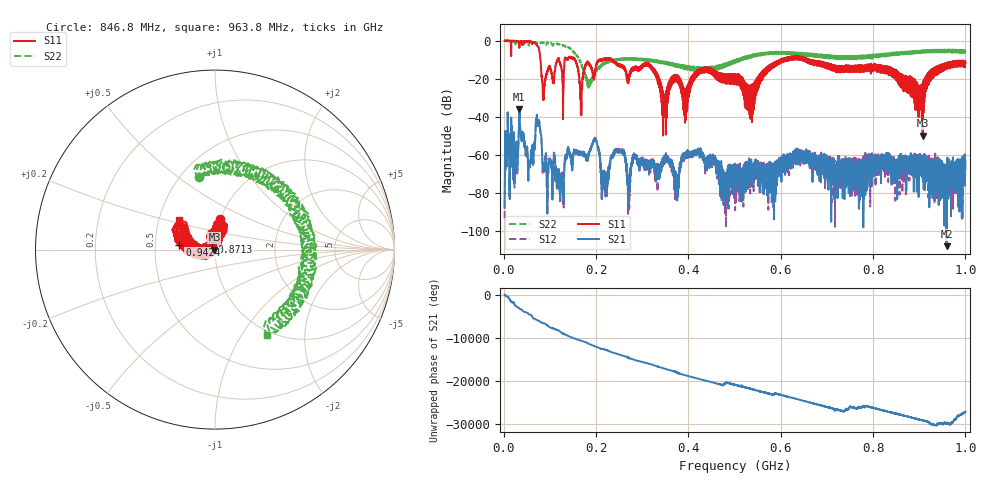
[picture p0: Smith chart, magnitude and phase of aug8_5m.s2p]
!Keysight Technologies N9923A: A.12.45
!Date: Friday, 08 August 2025 17:27:40
!Timezone: (UTC+08:00) Kuala Lumpur, Singapore
!Model: N9923A
!Serial: MY61181427
!GPS Latitude:
!GPS Longitude:
!GPS TimeStamp: 0001-01-01 00:00:00Z
!GPS Seconds Since Last Read: 0
!CHECKSUM:0652293707
!Correction: S11(ON U)S21(ON U)S12(ON U)S22(ON U)
!S2P File: Measurements:S11,S21,S12,S22:
# Hz S DB R 50
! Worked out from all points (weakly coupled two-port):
!   4001 points, 2 MHz to 1 GHz, reference 50 ohm
!   highest |S21| = -36.13 dB at 33.94 MHz (marker M1); lowest = -108.0 dB at 959.1 MHz (marker M2)
!   lowest |S11| = -50.0 dB at 907.4 MHz (marker M3), VSWR 1.01, Z = 49.7 + j0.0352 ohm
!   |S11| at or under -10 dB: 153.8 MHz to 206.1 MHz (52.24 MHz wide, 29 % of centre); 234.5 MHz to 599.5 MHz (365 MHz wide, 87.5 % of centre); 662.2 MHz to end of sweep (the widest 3 of 58)
!   |S22| runs from -24.8 to 0.0 dB; largest |S21 - S12| = 0.0012
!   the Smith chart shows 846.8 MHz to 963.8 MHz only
!   S11 on the Smith chart (normalised r, x): 846.8 MHz: 0.99, +0.34; 871.3 MHz: 0.96, +0.09; 942.4 MHz: 0.67, +0.04; 963.8 MHz: 0.64, +0.23
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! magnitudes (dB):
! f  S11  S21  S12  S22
! 2 MHz  -0.1  -87.9  -93.3  0.0
! 33.94 MHz  -3.8  -36.1  -36.2  -1.4
! 56.64 MHz  -0.5  -65.0  -65.9  -1.6
! 74.36 MHz  -3.2  -44.6  -44.9  -1.3
! 86.58 MHz  -30.5  -65.3  -64.9  -1.4
! 125.3 MHz  -15.1  -72.6  -70.3  -2.4
! 168.4 MHz  -35.1  -59.0  -58.7  -12.7
! 198.9 MHz  -15.5  -51.8  -51.9  -16.4
! 222.6 MHz  -9.3  -69.4  -74.3  -11.3
! 246.3 MHz  -12.7  -58.9  -57.8  -9.6
! 270.2 MHz  -21.2  -79.4  -89.2  -9.4
! 334.8 MHz  -19.6  -67.1  -66.4  -11.7
! 501 MHz  -17.6  -70.7  -70.5  -11.9
! 667.4 MHz  -10.6  -63.5  -64.2  -7.4
! 833.8 MHz  -17.4  -67.3  -64.4  -7.2
! 846.8 MHz  -15.4  -67.4  -68.7  -7.6
! 871.3 MHz  -26.6  -65.6  -60.9  -5.8
! 907.4 MHz  -50.0  -60.8  -65.0  -6.4
! 942.4 MHz  -14.0  -69.4  -66.7  -4.9
! 959.1 MHz  -11.7  -108.0  -67.4  -4.8
! 963.8 MHz  -11.7  -71.3  -71.4  -5.1
! 1 GHz  -11.9  -63.6  -67.0  -5.9
